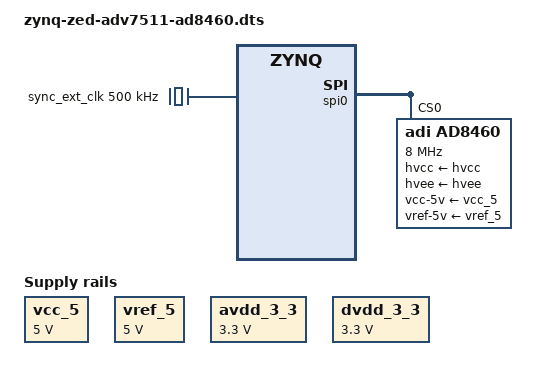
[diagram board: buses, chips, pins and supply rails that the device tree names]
// SPDX-License-Identifier: GPL-2.0
/*
 * Analog Devices AD8460
 * https://www.analog.com/en/products/ad8460.html
 * https://wiki.analog.com/resources/tools-software/linux-drivers/platforms/zynq
 * https://wiki.analog.com/resources/fpga/xilinx/kc705/ad8460
 *
 * hdl_project: <ad8460/zed>
 * board_revision: <>
 *
 * Copyright (C) 2012-2019 Analog Devices Inc.
 */
/dts-v1/;

#include "zynq-zed.dtsi"
#include "zynq-zed-adv7511.dtsi"

/ {
	hvcc: regulator-hvcc {
		regulator-name = "hvcc";
		regulator-min-microvolt = <12000000>;
		regulator-max-microvolt = <55000000>;
		regulator-always-on;
	};

	hvee: regulator-hvee {
		regulator-name = "hvee";
		regulator-min-microvolt = <(-55000000)>;
		regulator-max-microvolt = <(-12000000)>;
		regulator-always-on;
	};

	vcc_5: regulator-vcc_5 {
		compatible = "regulator-fixed";
		regulator-name = "vcc_5";
		regulator-min-microvolt = <5000000>;
		regulator-max-microvolt = <5000000>;
		regulator-always-on;
	};

	vref_5: regulator-vref_5 {
		compatible = "regulator-fixed";
		regulator-name = "vref_5";
		regulator-min-microvolt = <5000000>;
		regulator-max-microvolt = <5000000>;
		regulator-always-on;
	};

	avdd_3_3: regulator-avdd_3_3 {
		compatible = "regulator-fixed";
		regulator-name = "avdd_3_3";
		regulator-min-microvolt = <3300000>;
		regulator-max-microvolt = <3300000>;
		regulator-always-on;
	};

	dvdd_3_3: regulator-dvdd_3_3 {
		compatible = "regulator-fixed";
		regulator-name = "dvdd_3_3";
		regulator-min-microvolt = <3300000>;
		regulator-max-microvolt = <3300000>;
		regulator-always-on;
	};

	refio_1_2: regulator-refio_1_2 {
		regulator-name = "refio_1_2";
		regulator-min-microvolt = <120000>;
		regulator-max-microvolt = <1200000>;
		regulator-always-on;
	};

	clocks {
		sync_ext_clk: ext-clk {
			#clock-cells = <0x0>;
			compatible = "fixed-clock";
			clock-frequency = <500000>;
			clock-output-names = "sync_ext_clk";
		};
	};
};

&fpga_axi {

	tx_dma: tx_dmac@44000000 {
		compatible = "adi,axi-dmac-1.00.a";
		reg = <0x44000000 0x1000>;
		interrupts = <0 57 IRQ_TYPE_LEVEL_HIGH>;
		clocks = <&clkc 15>;
		#dma-cells = <1>;

		adi,channels {
			#size-cells = <0>;
			#address-cells = <1>;

			dma-channel@0 {
				reg = <0>;
				adi,source-bus-width = <64>;
				adi,source-bus-type = <0>;
				adi,destination-bus-width = <32>;
				adi,destination-bus-type = <2>;
				adi,cyclic;
			};
		};
	};
};

&spi0 {
	status = "okay";

	ad8460: dac@0 {
		compatible = "adi,ad8460";
		reg = <0>;
		spi-max-frequency = <8000000>;

		dma-names = "tx";
		dmas = <&tx_dma 0>;

		clocks = <&sync_ext_clk>;
		clock-names = "sync_clk";

		hvcc-supply = <&hvcc>;
		hvee-supply = <&hvee>;
		vcc-5v-supply = <&vcc_5>;
		vref-5v-supply = <&vref_5>;
		dvdd-3p3v-supply = <&dvdd_3_3>;
		avdd-3p3v-supply = <&avdd_3_3>;
		refio-1p2v-supply = <&refio_1_2>;

		adi,external-resistor-ohms = <2000>;
		adi,range-microvolt = <(-40000000) 40000000>;
		adi,range-microamp = <(-50000) 50000>;
		adi,max-millicelsius = <50000>;
	};
};
